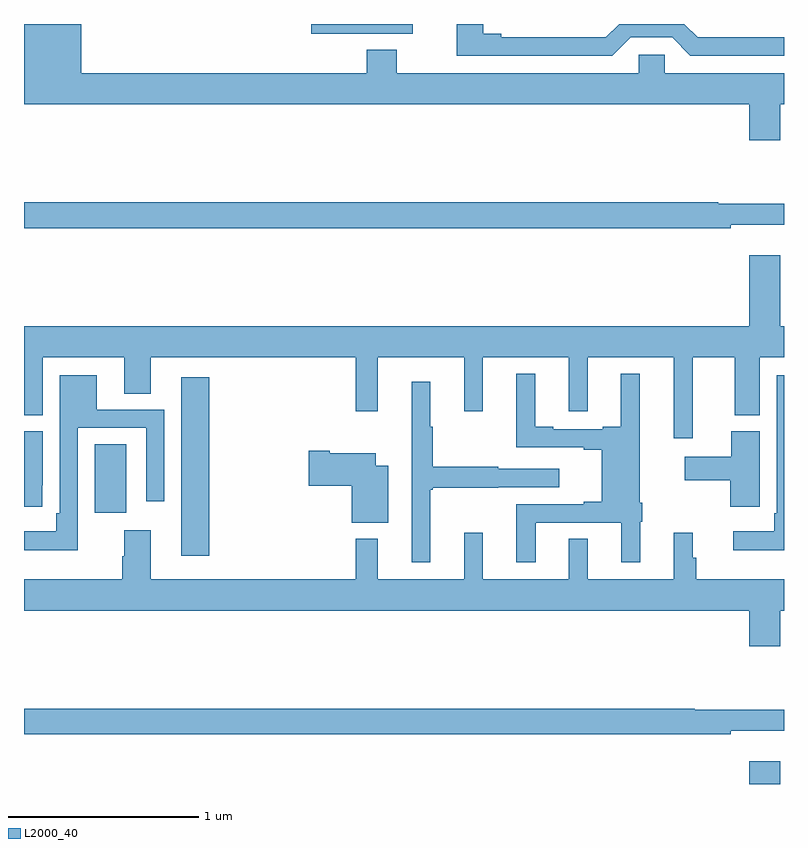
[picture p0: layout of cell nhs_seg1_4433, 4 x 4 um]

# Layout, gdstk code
import gdstk
lib = gdstk.Library(unit=1e-6, precision=1e-09)
def R(c, l, rs):  # rectangles x0, y0, x1, y1
    for r in rs: c.add(gdstk.rectangle(r[:2], r[2:], *l))
def P(c, l, *ps):  # polygons
    for p in ps: c.add(gdstk.Polygon(p, *l))
L2000_40 = (2000, 40)

nhs_seg1_4433 = lib.new_cell('nhs_seg1_4433')
R(nhs_seg1_4433, L2000_40, [(356.816,504.199,356.98,504.319), (353.828,505.401,353.975,506.341), (353.372,505.626,353.539,505.988), (354.513,508.149,355.047,508.199)])
P(nhs_seg1_4433, L2000_40, [(356.193,508.128),(356.411,508.128),(356.507,508.032),(357,508.032),(357,508.128),(356.547,508.128),(356.476,508.199),(356.132,508.199),(356.061,508.128),(355.513,508.128),(355.513,508.148),(355.417,508.148),(355.417,508.199),(355.277,508.199),(355.277,508.032),(356.097,508.032)],
  [(356.98,507.776),(357,507.776),(357,507.94),(356.373,507.94),(356.373,508.038),(356.235,508.038),(356.235,507.94),(354.963,507.94),(354.963,508.064),(354.803,508.064),(354.803,507.94),(353.302,507.94),(353.302,508.199),(353,508.199),(353,507.776),(356.816,507.776),(356.816,507.588),(356.98,507.588)],
  [(356.72,507.143),(357,507.143),(357,507.253),(356.655,507.253),(356.655,507.26),(353,507.26),(353,507.124),(356.72,507.124)],
  [(356.52,506.444),(356.741,506.444),(356.741,506.14),(356.872,506.14),(356.872,506.444),(357,506.444),(357,506.608),(356.98,506.608),(356.98,506.983),(356.816,506.983),(356.816,506.608),(353,506.608),(353,506.14),(353.098,506.14),(353.098,506.444),(353.528,506.444),(353.528,506.254),(353.668,506.254),(353.668,506.444),(354.745,506.444),(354.745,506.16),(354.863,506.16),(354.863,506.444),(355.316,506.444),(355.316,506.16),(355.415,506.16),(355.415,506.444),(355.868,506.444),(355.868,506.16),(355.966,506.16),(355.966,506.444),(356.42,506.444),(356.42,506.019),(356.52,506.019)],
  [(355.693,505.575),(356.144,505.575),(356.144,505.365),(356.243,505.365),(356.243,505.578),(356.254,505.578),(356.254,505.678),(356.242,505.678),(356.242,506.359),(356.141,506.359),(356.141,506.08),(356.045,506.08),(356.045,506.067),(355.786,506.067),(355.786,506.08),(355.691,506.08),(355.691,506.359),(355.592,506.359),(355.592,505.971),(355.946,505.971),(355.946,505.959),(356.042,505.959),(356.042,505.684),(355.946,505.684),(355.946,505.671),(355.592,505.671),(355.592,505.365),(355.693,505.365)],
  [(353.283,506.073),(353.643,506.073),(353.643,505.686),(353.739,505.686),(353.739,506.169),(353.383,506.169),(353.383,506.35),(353.187,506.35),(353.187,505.624),(353.171,505.624),(353.171,505.528),(353,505.528),(353,505.43),(353.283,505.43)],
  [(357,506.35),(356.961,506.35),(356.961,505.624),(356.949,505.624),(356.949,505.528),(356.733,505.528),(356.733,505.43),(357,505.43)],
  [(355.139,505.749),(355.15,505.749),(355.15,505.759),(355.496,505.759),(355.496,505.761),(355.816,505.761),(355.816,505.857),(355.496,505.857),(355.496,505.87),(355.15,505.87),(355.15,506.079),(355.139,506.079),(355.139,506.317),(355.04,506.317),(355.04,505.954),(355.041,505.954),(355.041,505.365),(355.139,505.365)],
  [(353.097,505.771),(353.098,505.771),(353.098,506.055),(353,506.055),(353,505.659),(353.097,505.659)],
  [(356.872,506.055),(356.723,506.055),(356.723,505.921),(356.478,505.921),(356.478,505.799),(356.716,505.799),(356.716,505.659),(356.872,505.659)],
  [(354.916,505.873),(354.85,505.873),(354.85,505.939),(354.61,505.939),(354.61,505.952),(354.498,505.952),(354.498,505.769),(354.725,505.769),(354.725,505.574),(354.916,505.574)],
  [(356.537,505.391),(356.519,505.391),(356.519,505.522),(356.42,505.522),(356.42,505.276),(355.967,505.276),(355.967,505.49),(355.868,505.49),(355.868,505.276),(355.414,505.276),(355.414,505.522),(355.316,505.522),(355.316,505.276),(354.863,505.276),(354.863,505.489),(354.745,505.489),(354.745,505.276),(353.668,505.276),(353.668,505.534),(353.528,505.534),(353.528,505.397),(353.516,505.397),(353.516,505.276),(353,505.276),(353,505.112),(356.816,505.112),(356.816,504.924),(356.98,504.924),(356.98,505.112),(357,505.112),(357,505.276),(356.537,505.276)],
  [(356.72,504.479),(357,504.479),(357,504.589),(356.53,504.589),(356.53,504.596),(353,504.596),(353,504.46),(356.72,504.46)])

lib.write_gds('nhs_seg1_4433.gds')
